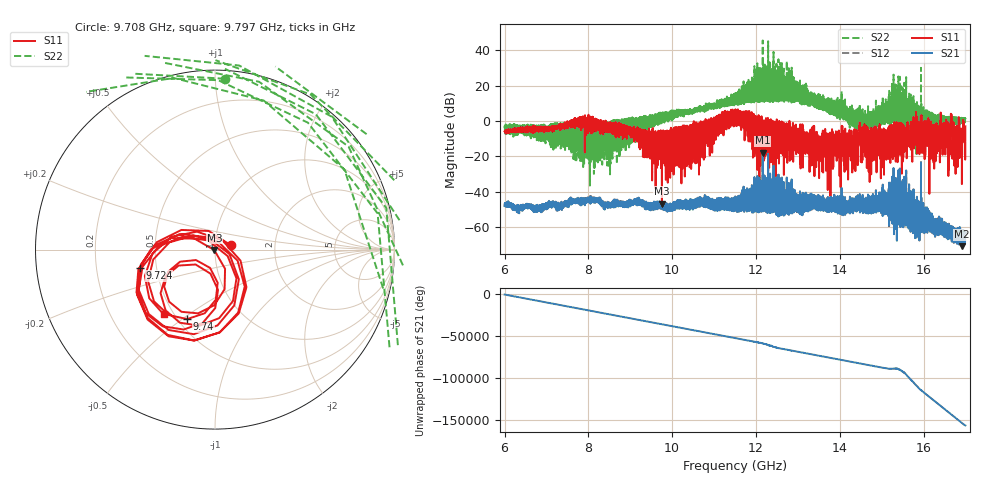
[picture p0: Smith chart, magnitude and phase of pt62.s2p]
#  HZ  S  RI  R  50.00
! Rohde & Schwarz Vector Network Analyzer
! Rohde-Schwarz,ZNA67-2Port,1332450062101215,3.01
! Created: UTC 10/16/2026, 11:07:27 AM
! freq[Hz]  re:S11  im:S11  re:S21  im:S21  re:S12  im:S12  re:S22  im:S22
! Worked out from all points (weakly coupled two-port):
!   11001 points, 6 GHz to 17 GHz, reference 50 ohm
!   highest |S21| = -17.99 dB at 12.16 GHz (marker M1); lowest = -70.8 dB at 16.91 GHz (marker M2)
!   lowest |S11| = -46.7 dB at 9.755 GHz (marker M3), VSWR 1.01, Z = 49.6 - j0.278 ohm
!   |S11| at or under -10 dB: 13.52922 GHz to 13.56892 GHz (39.7 MHz wide, 0.293 % of centre); 13.93544 GHz to 13.96287 GHz (27.43 MHz wide, 0.197 % of centre); 14.14669 GHz to 14.17314 GHz (26.45 MHz wide, 0.187 % of centre) (the widest 3 of 491)
!   |S22| runs from -36.5 to 45.6 dB; largest |S21 - S12| = 0.0051
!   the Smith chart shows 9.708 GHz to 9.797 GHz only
!   S11 on the Smith chart (normalised r, x): 9.708 GHz: 1.19, +0.06; 9.724 GHz: 0.40, -0.10; 9.74 GHz: 0.56, -0.52; 9.797 GHz: 0.44, -0.41
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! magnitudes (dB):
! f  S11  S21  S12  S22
! 6 GHz  -5.9  -48.1  -48.1  -3.9
! 7.834 GHz  -0.9  -44.2  -44.0  -0.9
! 8.487 GHz  -4.4  -46.2  -46.0  -1.6
! 9.667 GHz  -6.0  -46.7  -46.9  3.9
! 9.708 GHz  -20.9  -48.4  -48.7  -0.4
! 9.724 GHz  -7.3  -47.6  -47.7  3.8
! 9.74 GHz  -7.6  -46.9  -47.2  1.6
! 9.755 GHz  -46.7  -49.0  -49.2  -0.5
! 9.797 GHz  -6.7  -48.1  -48.3  4.8
! 11.5 GHz  6.4  -49.2  -49.2  11.1
! 12.16 GHz  -7.7  -18.0  -17.9  45.6
! 12.77 GHz  -5.9  -50.3  -50.2  13.2
! 13.33 GHz  -7.7  -47.5  -47.4  11.2
! 13.54 GHz  -13.5  -44.5  -44.5  11.3
! 14.55 GHz  -10.1  -45.8  -45.7  3.0
! 15.17 GHz  -14.4  -48.2  -48.3  4.5
! 15.68 GHz  -13.2  -49.3  -48.7  6.0
! 15.8 GHz  -3.1  -53.9  -54.1  1.7
! 16.19 GHz  -7.5  -57.2  -57.3  -0.6
! 16.45 GHz  -3.7  -60.0  -60.0  2.5
! 16.91 GHz  -13.5  -70.8  -69.8  -1.1
! 17 GHz  -3.0  -65.4  -65.1  1.1
